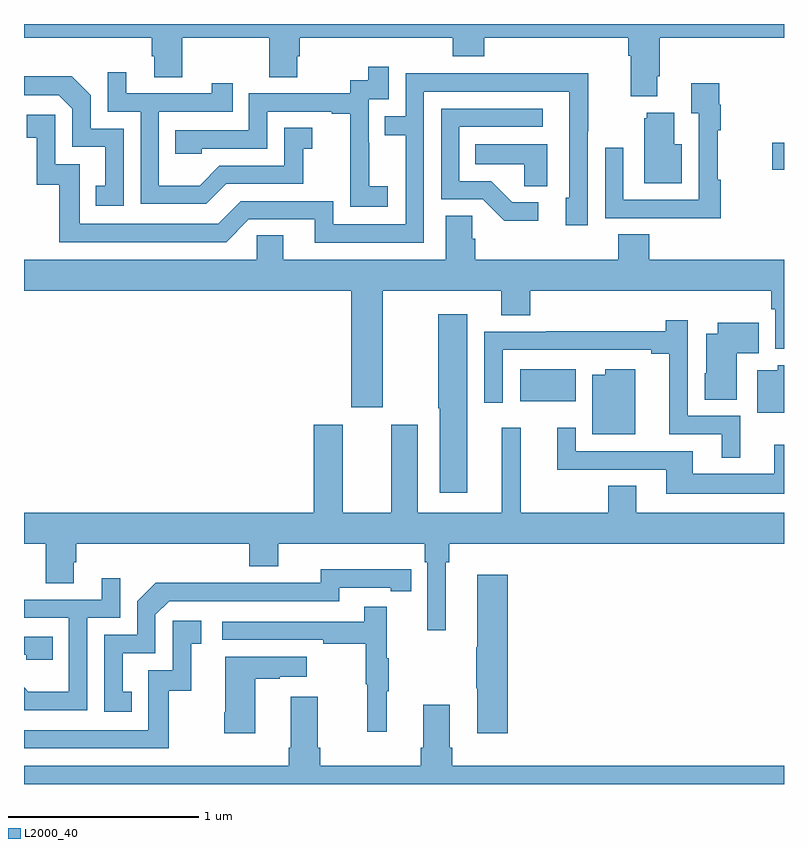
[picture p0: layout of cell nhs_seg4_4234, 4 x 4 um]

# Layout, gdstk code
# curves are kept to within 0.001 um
import gdstk
lib = gdstk.Library(unit=1e-6, precision=1e-09)
def R(c, l, rs):  # rectangles x0, y0, x1, y1
    for r in rs: c.add(gdstk.rectangle(r[:2], r[2:], *l))
def P(c, l, *ps):  # polygons
    for p in ps: c.add(gdstk.Polygon(p, *l))
L2000_40 = (2000, 40)

nhs_seg4_4234 = lib.new_cell('nhs_seg4_4234')
R(nhs_seg4_4234, L2000_40, [(339.611,786.914,339.904,787.084), (340.938,788.134,341,788.276)])
P(nhs_seg4_4234, L2000_40, [(337,788.828),(337.673,788.828),(337.673,788.73),(337.685,788.73),(337.685,788.62),(337.833,788.62),(337.833,788.828),(338.29,788.828),(338.29,788.62),(338.437,788.62),(338.437,788.73),(338.45,788.73),(338.45,788.828),(339.257,788.828),(339.257,788.729),(339.422,788.729),(339.422,788.828),(340.181,788.828),(340.181,788.732),(340.193,788.732),(340.193,788.519),(340.333,788.519),(340.333,788.626),(340.346,788.626),(340.346,788.828),(341,788.828),(341,788.9),(337,788.9)],
  [(338.914,788.047),(338.816,788.047),(338.816,788.276),(338.814,788.276),(338.814,788.505),(338.919,788.505),(338.919,788.674),(338.811,788.674),(338.811,788.604),(338.718,788.604),(338.718,788.535),(338.184,788.535),(338.184,788.34),(337.795,788.34),(337.795,788.217),(337.935,788.217),(337.935,788.244),(338.28,788.244),(338.28,788.439),(338.621,788.439),(338.621,788.427),(338.717,788.427),(338.717,788.143),(338.716,788.143),(338.716,787.937),(338.914,787.937)],
  [(338.065,788.058),(338.469,788.058),(338.469,788.243),(338.518,788.243),(338.518,788.353),(338.37,788.353),(338.37,788.154),(338.028,788.154),(337.924,788.05),(337.71,788.05),(337.71,788.439),(338.099,788.439),(338.099,788.587),(337.988,788.587),(337.988,788.535),(337.537,788.535),(337.537,788.647),(337.44,788.647),(337.44,788.439),(337.614,788.439),(337.614,787.953),(337.96,787.953)],
  [(339.105,788.544),(339.87,788.544),(339.87,787.986),(339.851,787.986),(339.851,787.842),(339.966,787.842),(339.966,788.335),(339.969,788.335),(339.969,788.642),(339.505,788.642),(339.505,788.64),(339.009,788.64),(339.009,788.415),(338.899,788.415),(338.899,788.314),(339.009,788.314),(339.009,787.845),(338.628,787.845),(338.628,787.968),(338.142,787.968),(338.022,787.848),(337.293,787.848),(337.293,788.163),(337.164,788.163),(337.164,788.422),(337.014,788.422),(337.014,788.301),(337.067,788.301),(337.067,788.055),(337.185,788.055),(337.185,787.752),(338.064,787.752),(338.184,787.872),(338.531,787.872),(338.531,787.749),(339.105,787.749)],
  [(337.524,788.349),(337.35,788.349),(337.35,788.526),(337.252,788.624),(337,788.624),(337,788.526),(337.182,788.526),(337.254,788.454),(337.254,788.253),(337.427,788.253),(337.427,788.049),(337.378,788.049),(337.378,787.944),(337.524,787.944)],
  [(340.667,788.081),(340.652,788.081),(340.652,788.342),(340.667,788.342),(340.667,788.474),(340.66,788.474),(340.66,788.587),(340.511,788.587),(340.511,788.431),(340.551,788.431),(340.551,787.974),(340.155,787.974),(340.155,788.248),(340.059,788.248),(340.059,787.878),(340.375,787.878),(340.375,787.877),(340.667,787.877)],
  [(339.706,787.962),(339.571,787.962),(339.46,788.073),(339.291,788.073),(339.291,788.358),(339.73,788.358),(339.73,788.454),(339.195,788.454),(339.195,787.977),(339.414,787.977),(339.527,787.865),(339.706,787.865)],
  [(340.462,788.266),(340.423,788.266),(340.423,788.434),(340.277,788.434),(340.277,788.403),(340.265,788.403),(340.265,788.063),(340.462,788.063)],
  [(339.754,788.266),(339.376,788.266),(339.376,788.162),(339.633,788.162),(339.633,788.047),(339.754,788.047)],
  [(338.887,787.496),(339.512,787.496),(339.512,787.366),(339.665,787.366),(339.665,787.496),(340.933,787.496),(340.933,787.4),(340.953,787.4),(340.953,787.19),(341,787.19),(341,787.66),(340.292,787.66),(340.292,787.793),(340.127,787.793),(340.127,787.66),(339.374,787.66),(339.374,787.769),(339.36,787.769),(339.36,787.892),(339.221,787.892),(339.221,787.66),(338.365,787.66),(338.365,787.787),(338.226,787.787),(338.226,787.66),(337,787.66),(337,787.496),(338.723,787.496),(338.723,786.882),(338.887,786.882)],
  [(339.334,787.372),(339.181,787.372),(339.181,786.877),(339.188,786.877),(339.188,786.432),(339.334,786.432)],
  [(340.771,786.837),(340.494,786.837),(340.494,787.342),(340.378,787.342),(340.378,787.283),(339.748,787.283),(339.748,787.281),(339.423,787.281),(339.423,786.906),(339.519,786.906),(339.519,787.185),(340.301,787.185),(340.301,787.165),(340.397,787.165),(340.397,786.741),(340.673,786.741),(340.673,786.617),(340.771,786.617)],
  [(340.75,787.166),(340.868,787.166),(340.868,787.327),(340.652,787.327),(340.652,787.27),(340.592,787.27),(340.592,787.062),(340.583,787.062),(340.583,786.922),(340.75,786.922)],
  [(341,787.105),(340.968,787.105),(340.968,787.078),(340.859,787.078),(340.859,786.854),(341,786.854)],
  [(340.216,787.084),(340.058,787.084),(340.058,787.054),(339.992,787.054),(339.992,786.74),(340.216,786.74)],
  [(339.22,786.068),(339.239,786.068),(339.239,786.164),(341,786.164),(341,786.328),(340.222,786.328),(340.222,786.47),(340.075,786.47),(340.075,786.328),(339.614,786.328),(339.614,786.775),(339.515,786.775),(339.515,786.328),(339.073,786.328),(339.073,786.79),(338.933,786.79),(338.933,786.328),(338.677,786.328),(338.677,786.79),(338.525,786.79),(338.525,786.328),(337,786.328),(337,786.164),(337.114,786.164),(337.114,785.956),(337.261,785.956),(337.261,786.066),(337.274,786.066),(337.274,786.164),(338.186,786.164),(338.186,786.047),(338.338,786.047),(338.338,786.164),(339.11,786.164),(339.11,786.068),(339.123,786.068),(339.123,785.709),(339.22,785.709)],
  [(341,786.685),(340.949,786.685),(340.949,786.532),(340.519,786.532),(340.519,786.651),(339.903,786.651),(339.903,786.775),(339.806,786.775),(339.806,786.555),(340.379,786.555),(340.379,786.428),(341,786.428)],
  [(337.568,785.385),(337.519,785.385),(337.519,785.589),(337.692,785.589),(337.692,785.79),(337.764,785.862),(338.658,785.862),(338.658,785.934),(338.93,785.934),(338.93,785.914),(339.038,785.914),(339.038,786.03),(338.562,786.031),(338.562,785.958),(338.102,785.958),(338.102,785.96),(337.694,785.96),(337.596,785.862),(337.596,785.685),(337.422,785.685),(337.422,785.28),(337.568,785.28)],
  [(339.545,786.001),(339.386,786.001),(339.386,785.621),(339.379,785.621),(339.379,785.404),(339.386,785.404),(339.386,785.166),(339.545,785.166)],
  [(337.332,785.775),(337.506,785.775),(337.506,785.983),(337.409,785.983),(337.409,785.871),(337,785.871),(337,785.775),(337.236,785.775),(337.236,785.386),(337.022,785.386),(337,785.408),(337,785.289),(337.332,785.289)],
  [(338.909,785.387),(338.92,785.387),(338.92,785.561),(338.909,785.561),(338.909,785.833),(338.791,785.833),(338.791,785.754),(338.043,785.754),(338.043,785.658),(338.575,785.658),(338.575,785.638),(338.799,785.638),(338.799,785.424),(338.806,785.424),(338.806,785.175),(338.909,785.175)],
  [(337.762,785.391),(337.88,785.391),(337.88,785.637),(337.933,785.637),(337.933,785.758),(337.782,785.758),(337.782,785.499),(337.653,785.499),(337.653,785.184),(337,785.184),(337,785.088),(337.762,785.088)],
  [(337.151,785.676),(337,785.676),(337,785.58),(337.011,785.58),(337.011,785.553),(337.151,785.553)],
  [(338.218,785.455),(338.345,785.455),(338.345,785.465),(338.488,785.465),(338.488,785.569),(338.06,785.569),(338.06,785.278),(338.053,785.278),(338.053,785.166),(338.218,785.166)],
  [(341,784.996),(339.254,784.996),(339.254,785.092),(339.241,785.092),(339.241,785.317),(339.101,785.317),(339.101,785.092),(339.089,785.092),(339.089,784.996),(338.558,784.996),(338.558,785.092),(338.545,785.092),(338.545,785.359),(338.405,785.359),(338.405,785.092),(338.393,785.092),(338.393,784.996),(337,784.996),(337,784.9),(341,784.9)])

lib.write_gds('nhs_seg4_4234.gds')
